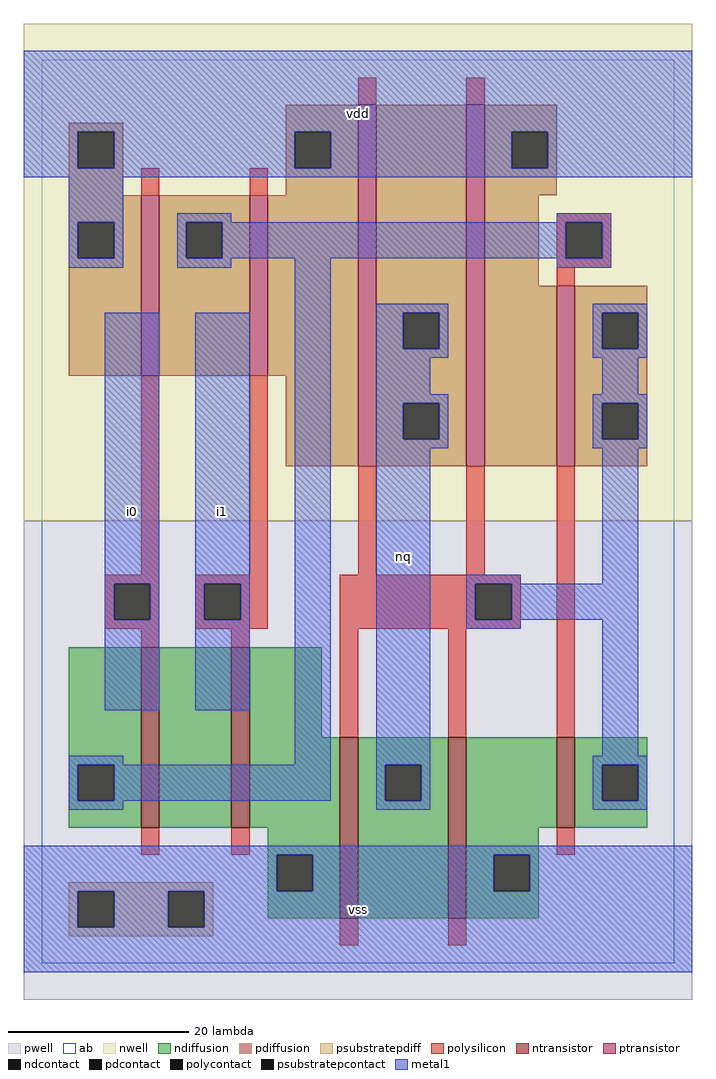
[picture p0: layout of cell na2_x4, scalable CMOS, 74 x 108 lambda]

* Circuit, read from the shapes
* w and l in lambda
.subckt na2_x4 i0 i1 nq vdd vss
M1 n1 i0 n2 vss nfet w=20 l=2
M2 vss i1 n1 vss nfet w=20 l=2
M3 nq n3 vss vss nfet w=20 l=2 m=2
M4 n3 n2 vss vss nfet w=10 l=2
M5 n2 i0 vdd n4 pfet w=20 l=2
M6 vdd i1 n2 n4 pfet w=20 l=2
M7 nq n3 vdd n4 pfet w=40 l=2 m=2
M8 n3 n2 vdd n4 pfet w=20 l=2
.ends

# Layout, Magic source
magic
tech scmos
<< ab >>
rect 0 0 70 100
<< pwell >>
rect -2 -4 72 49
<< nwell >>
rect -2 49 72 104
<< polysilicon >>
rect 35 95 37 98
rect 47 95 49 98
rect 11 85 13 88
rect 23 85 25 88
rect 11 43 13 65
rect 23 43 25 65
rect 57 82 63 83
rect 57 78 58 82
rect 62 78 63 82
rect 57 77 63 78
rect 57 75 59 77
rect 35 43 37 55
rect 47 43 49 55
rect 7 42 13 43
rect 7 38 8 42
rect 12 38 13 42
rect 7 37 13 38
rect 17 42 25 43
rect 17 38 18 42
rect 22 38 25 42
rect 17 37 25 38
rect 33 42 53 43
rect 33 38 48 42
rect 52 38 53 42
rect 33 37 53 38
rect 11 35 13 37
rect 21 35 23 37
rect 33 25 35 37
rect 45 25 47 37
rect 57 25 59 55
rect 11 12 13 15
rect 21 12 23 15
rect 57 12 59 15
rect 33 2 35 5
rect 45 2 47 5
<< ndiffusion >>
rect 3 22 11 35
rect 3 18 4 22
rect 8 18 11 22
rect 3 15 11 18
rect 13 15 21 35
rect 23 25 31 35
rect 23 15 33 25
rect 25 12 33 15
rect 25 8 26 12
rect 30 8 33 12
rect 25 5 33 8
rect 35 22 45 25
rect 35 18 38 22
rect 42 18 45 22
rect 35 5 45 18
rect 47 15 57 25
rect 59 22 67 25
rect 59 18 62 22
rect 66 18 67 22
rect 59 15 67 18
rect 47 12 55 15
rect 47 8 50 12
rect 54 8 55 12
rect 47 5 55 8
<< pdiffusion >>
rect 3 92 9 93
rect 3 88 4 92
rect 8 88 9 92
rect 27 92 35 95
rect 27 88 28 92
rect 32 88 35 92
rect 3 85 9 88
rect 27 85 35 88
rect 3 82 11 85
rect 3 78 4 82
rect 8 78 11 82
rect 3 65 11 78
rect 13 82 23 85
rect 13 78 16 82
rect 20 78 23 82
rect 13 65 23 78
rect 25 65 35 85
rect 27 55 35 65
rect 37 72 47 95
rect 37 68 40 72
rect 44 68 47 72
rect 37 62 47 68
rect 37 58 40 62
rect 44 58 47 62
rect 37 55 47 58
rect 49 92 57 95
rect 49 88 52 92
rect 56 88 57 92
rect 49 85 57 88
rect 49 75 55 85
rect 49 55 57 75
rect 59 72 67 75
rect 59 68 62 72
rect 66 68 67 72
rect 59 62 67 68
rect 59 58 62 62
rect 66 58 67 62
rect 59 55 67 58
<< metal1 >>
rect -2 92 72 101
rect -2 88 4 92
rect 8 88 28 92
rect 32 88 52 92
rect 56 88 72 92
rect -2 87 72 88
rect 3 82 9 87
rect 3 78 4 82
rect 8 78 9 82
rect 3 77 9 78
rect 15 82 21 83
rect 57 82 63 83
rect 15 78 16 82
rect 20 78 58 82
rect 62 78 63 82
rect 15 77 21 78
rect 7 42 13 72
rect 7 38 8 42
rect 12 38 13 42
rect 7 28 13 38
rect 17 42 23 72
rect 17 38 18 42
rect 22 38 23 42
rect 17 28 23 38
rect 3 22 9 23
rect 28 22 32 78
rect 57 77 63 78
rect 3 18 4 22
rect 8 18 32 22
rect 37 72 45 73
rect 37 68 40 72
rect 44 68 45 72
rect 37 67 45 68
rect 61 72 67 73
rect 61 68 62 72
rect 66 68 67 72
rect 61 67 67 68
rect 37 63 43 67
rect 62 63 66 67
rect 37 62 45 63
rect 37 58 40 62
rect 44 58 45 62
rect 37 57 45 58
rect 61 62 67 63
rect 61 58 62 62
rect 66 58 67 62
rect 61 57 67 58
rect 37 22 43 57
rect 47 42 53 43
rect 62 42 66 57
rect 47 38 48 42
rect 52 38 66 42
rect 47 37 53 38
rect 62 23 66 38
rect 37 18 38 22
rect 42 18 43 22
rect 3 17 9 18
rect 37 17 43 18
rect 61 22 67 23
rect 61 18 62 22
rect 66 18 67 22
rect 61 17 67 18
rect -2 12 72 13
rect -2 8 26 12
rect 30 8 50 12
rect 54 8 72 12
rect -2 4 4 8
rect 8 4 14 8
rect 18 4 72 8
rect -2 -1 72 4
<< ntransistor >>
rect 11 15 13 35
rect 21 15 23 35
rect 33 5 35 25
rect 45 5 47 25
rect 57 15 59 25
<< ptransistor >>
rect 11 65 13 85
rect 23 65 25 85
rect 35 55 37 95
rect 47 55 49 95
rect 57 55 59 75
<< polycontact >>
rect 58 78 62 82
rect 8 38 12 42
rect 18 38 22 42
rect 48 38 52 42
<< ndcontact >>
rect 4 18 8 22
rect 26 8 30 12
rect 38 18 42 22
rect 62 18 66 22
rect 50 8 54 12
<< pdcontact >>
rect 4 88 8 92
rect 28 88 32 92
rect 4 78 8 82
rect 16 78 20 82
rect 40 68 44 72
rect 40 58 44 62
rect 52 88 56 92
rect 62 68 66 72
rect 62 58 66 62
<< psubstratepcontact >>
rect 4 4 8 8
rect 14 4 18 8
<< psubstratepdiff >>
rect 3 8 19 9
rect 3 4 4 8
rect 8 4 14 8
rect 18 4 19 8
rect 3 3 19 4
<< labels >>
rlabel metal1 10 50 10 50 6 i0
rlabel metal1 10 50 10 50 6 i0
rlabel metal1 20 50 20 50 6 i1
rlabel metal1 20 50 20 50 6 i1
rlabel metal1 35 6 35 6 6 vss
rlabel metal1 35 6 35 6 6 vss
rlabel metal1 40 45 40 45 6 nq
rlabel metal1 40 45 40 45 6 nq
rlabel metal1 35 94 35 94 6 vdd
rlabel metal1 35 94 35 94 6 vdd
<< end >>
